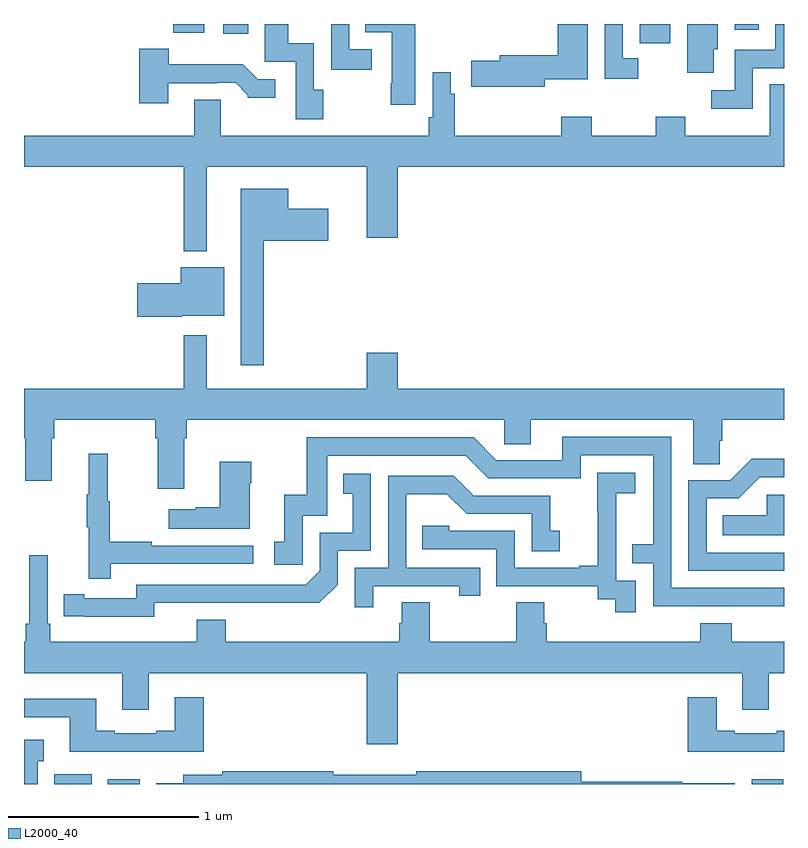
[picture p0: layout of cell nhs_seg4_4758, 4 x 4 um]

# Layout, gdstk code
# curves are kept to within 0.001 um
import gdstk
lib = gdstk.Library(unit=1e-6, precision=1e-09)
def R(c, l, rs):  # rectangles x0, y0, x1, y1
    for r in rs: c.add(gdstk.rectangle(r[:2], r[2:], *l))
def P(c, l, *ps):  # polygons
    for p in ps: c.add(gdstk.Polygon(p, *l))
L2000_40 = (2000, 40)

nhs_seg4_4758 = lib.new_cell('nhs_seg4_4758')
R(nhs_seg4_4758, L2000_40, [(367.16,798.9,367.357,798.952), (367.442,798.9,367.609,798.925), (370.829,798.9,370.996,798.925), (370.241,802.8,370.402,802.9), (368.048,802.848,368.179,802.9), (367.786,802.853,367.948,802.9), (370.74,802.869,370.867,802.9)])
P(nhs_seg4_4758, L2000_40, [(369.742,802.61),(369.967,802.61),(369.967,802.9),(369.809,802.9),(369.809,802.736),(369.503,802.736),(369.503,802.706),(369.354,802.706),(369.354,802.571),(369.742,802.571)],
  [(370.836,802.668),(371,802.668),(371,802.9),(370.955,802.9),(370.955,802.764),(370.74,802.764),(370.74,802.551),(370.617,802.551),(370.617,802.454),(370.836,802.454)],
  [(370.234,802.719),(370.152,802.719),(370.152,802.9),(370.056,802.9),(370.056,802.611),(370.234,802.611)],
  [(370.63,802.767),(370.651,802.767),(370.651,802.9),(370.49,802.9),(370.49,802.644),(370.63,802.644)],
  [(368.574,802.554),(368.526,802.554),(368.526,802.798),(368.392,802.798),(368.392,802.9),(368.267,802.9),(368.267,802.701),(368.43,802.701),(368.43,802.398),(368.574,802.398)],
  [(369.058,802.9),(368.797,802.9),(368.797,802.856),(368.936,802.856),(368.936,802.588),(368.929,802.588),(368.929,802.476),(369.058,802.476)],
  [(368.83,802.767),(368.712,802.767),(368.712,802.9),(368.616,802.9),(368.616,802.659),(368.83,802.659)],
  [(367.759,802.587),(368.015,802.587),(368.015,802.59),(368.114,802.59),(368.178,802.526),(368.178,802.511),(368.323,802.511),(368.323,802.608),(368.229,802.608),(368.151,802.687),(367.762,802.687),(367.762,802.771),(367.607,802.771),(367.607,802.482),(367.759,802.482)],
  [(367.963,802.148),(368.804,802.148),(368.804,801.774),(368.968,801.774),(368.968,802.148),(371,802.148),(371,802.583),(370.925,802.583),(370.925,802.312),(370.479,802.312),(370.479,802.411),(370.324,802.411),(370.324,802.312),(369.987,802.312),(369.987,802.411),(369.827,802.411),(369.827,802.312),(369.266,802.312),(369.266,802.532),(369.246,802.532),(369.246,802.645),(369.15,802.645),(369.15,802.408),(369.13,802.408),(369.13,802.312),(368.035,802.312),(368.035,802.502),(367.895,802.502),(367.895,802.312),(367,802.312),(367,802.148),(367.842,802.148),(367.842,801.704),(367.963,801.704)],
  [(368.263,801.758),(368.602,801.758),(368.602,801.928),(368.392,801.928),(368.392,802.033),(368.141,802.033),(368.141,801.105),(368.263,801.105)],
  [(367.83,801.365),(368.053,801.365),(368.053,801.619),(367.826,801.619),(367.826,801.536),(367.596,801.536),(367.596,801.358),(367.83,801.358)],
  [(367,800.72),(367.007,800.72),(367.007,800.496),(367.147,800.496),(367.147,800.72),(367.16,800.72),(367.16,800.816),(367.691,800.816),(367.691,800.72),(367.703,800.72),(367.703,800.454),(367.843,800.454),(367.843,800.72),(367.856,800.72),(367.856,800.816),(369.528,800.816),(369.528,800.689),(369.667,800.689),(369.667,800.816),(370.523,800.816),(370.523,800.584),(370.662,800.584),(370.662,800.707),(370.676,800.707),(370.676,800.816),(371,800.816),(371,800.98),(368.968,800.98),(368.968,801.169),(368.804,801.169),(368.804,800.98),(367.963,800.98),(367.963,801.262),(367.842,801.262),(367.842,800.98),(367,800.98)],
  [(371,799.932),(370.407,799.932),(370.407,800.727),(369.833,800.727),(369.833,800.604),(369.486,800.604),(369.366,800.724),(368.487,800.724),(368.487,800.422),(368.369,800.422),(368.369,800.175),(368.316,800.175),(368.316,800.055),(368.466,800.055),(368.466,800.313),(368.595,800.313),(368.595,800.628),(369.324,800.628),(369.444,800.508),(369.93,800.508),(369.93,800.631),(370.311,800.631),(370.311,800.162),(370.201,800.162),(370.201,800.061),(370.311,800.061),(370.311,799.836),(371,799.835)],
  [(367.457,800.058),(368.206,800.058),(368.206,800.154),(367.673,800.154),(367.673,800.174),(367.45,800.174),(367.45,800.388),(367.442,800.388),(367.442,800.638),(367.34,800.638),(367.34,800.425),(367.329,800.425),(367.329,800.251),(367.34,800.251),(367.34,799.98),(367.457,799.98)],
  [(371,800.118),(370.593,800.118),(370.593,800.403),(370.762,800.403),(370.873,800.514),(371,800.514),(371,800.612),(370.829,800.612),(370.716,800.499),(370.497,800.499),(370.497,800.022),(371,800.022)],
  [(368.188,800.483),(368.196,800.483),(368.196,800.596),(368.03,800.596),(368.03,800.357),(367.904,800.357),(367.904,800.347),(367.761,800.347),(367.761,800.243),(368.188,800.243)],
  [(370.221,799.971),(370.116,799.971),(370.116,800.201),(370.118,800.201),(370.118,800.429),(370.216,800.429),(370.216,800.539),(370.018,800.539),(370.018,800.333),(370.019,800.333),(370.019,800.05),(369.923,800.05),(369.923,800.037),(369.582,800.037),(369.582,800.232),(369.237,800.232),(369.237,800.259),(369.097,800.259),(369.097,800.136),(369.486,800.136),(369.486,799.941),(370.02,799.941),(370.02,799.873),(370.113,799.873),(370.113,799.803),(370.221,799.803)],
  [(367.686,799.854),(368.554,799.853),(368.652,799.95),(368.652,800.127),(368.826,800.127),(368.826,800.533),(368.68,800.533),(368.68,800.427),(368.729,800.427),(368.729,800.223),(368.556,800.223),(368.556,800.022),(368.484,799.95),(367.59,799.95),(367.59,799.878),(367.318,799.878),(367.318,799.898),(367.21,799.898),(367.21,799.782),(367.686,799.781)],
  [(368.839,799.941),(369.29,799.941),(369.29,799.89),(369.401,799.89),(369.401,800.037),(369.012,800.037),(369.012,800.426),(369.226,800.426),(369.33,800.322),(369.672,800.322),(369.672,800.124),(369.82,800.124),(369.82,800.233),(369.771,800.233),(369.771,800.418),(369.367,800.418),(369.262,800.523),(368.916,800.523),(368.916,800.037),(368.742,800.037),(368.742,799.83),(368.839,799.83)],
  [(371,800.422),(370.909,800.422),(370.909,800.314),(370.678,800.314),(370.678,800.21),(371,800.21)],
  [(368.968,799.484),(370.781,799.484),(370.781,799.29),(370.921,799.29),(370.921,799.484),(371,799.484),(371,799.648),(370.724,799.648),(370.724,799.747),(370.559,799.747),(370.559,799.648),(369.752,799.648),(369.752,799.746),(369.739,799.746),(369.739,799.856),(369.592,799.856),(369.592,799.648),(369.135,799.648),(369.135,799.856),(368.987,799.856),(368.987,799.746),(368.975,799.746),(368.975,799.648),(368.063,799.648),(368.063,799.765),(367.91,799.765),(367.91,799.648),(367.139,799.648),(367.139,799.744),(367.125,799.744),(367.125,800.104),(367.028,800.104),(367.028,799.744),(367.009,799.744),(367.009,799.648),(367,799.648),(367,799.484),(367.517,799.484),(367.517,799.29),(367.657,799.29),(367.657,799.484),(368.804,799.484),(368.804,799.11),(368.968,799.11)],
  [(367.946,799.357),(367.793,799.357),(367.793,799.18),(367.697,799.18),(367.697,799.167),(367.477,799.167),(367.477,799.18),(367.381,799.18),(367.381,799.348),(367,799.348),(367,799.251),(367.241,799.251),(367.241,799.07),(367.946,799.07)],
  [(371,799.18),(370.961,799.18),(370.961,799.167),(370.741,799.167),(370.741,799.18),(370.645,799.18),(370.645,799.357),(370.493,799.357),(370.493,799.07),(371,799.07)],
  [(367.072,799.019),(367.105,799.019),(367.105,799.132),(367,799.132),(367,798.9),(367.072,798.9)],
  [(370.741,798.904),(370.465,798.904),(370.465,798.911),(369.933,798.911),(369.933,798.968),(369.064,798.968),(369.064,798.949),(368.628,798.949),(368.628,798.968),(368.044,798.968),(368.044,798.948),(367.838,798.948),(367.838,798.904),(367.697,798.904),(367.697,798.9),(370.741,798.9)])

lib.write_gds('nhs_seg4_4758.gds')
